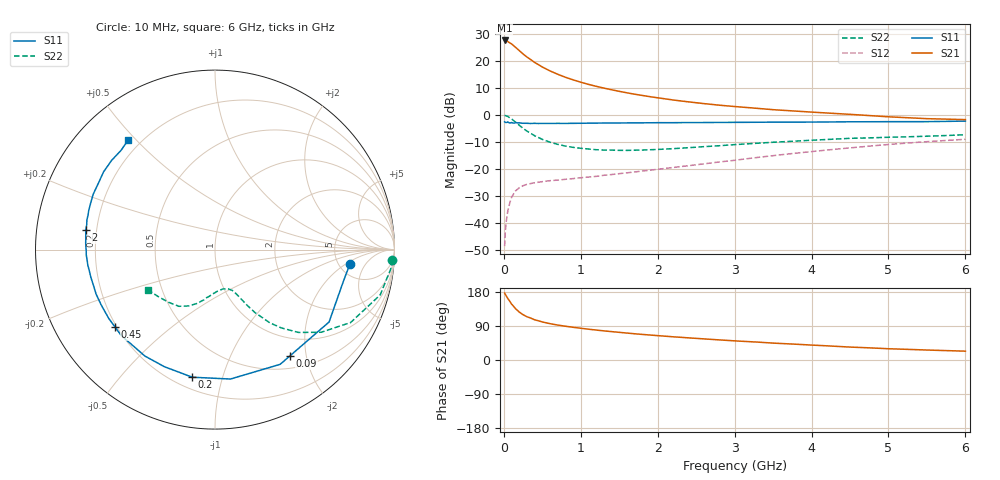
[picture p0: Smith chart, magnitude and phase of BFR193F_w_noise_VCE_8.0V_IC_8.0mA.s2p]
! Infineon Technologies  Discrete & RF Semiconductors
! BFR193F
! VCE =  8.0 V,  IC =  8.0 mA
! Common Emitter S-Parameters:  Jan 2017
# GHz  S  MA  R  50
!  f  S11  S21  S12  S22
! GHz  MAG  ANG  MAG  ANG  MAG  ANG  MAG  ANG
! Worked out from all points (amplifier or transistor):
!   77 points, 10 MHz to 6 GHz, reference 50 ohm
!   highest |S21| = 27.6 dB at 10 MHz (marker M1)
!   |S21| within 3 dB of that: start of sweep to 170.7 MHz
!   unconditionally stable (mu >= 1): 1.672 GHz to 2.886 GHz
!   at 130 MHz: K = 0.15, MSG = 27.3 dB, |S12| = -28.9 dB
!   at 2.2 GHz: K = 1.05, MAG = 11.1 dB, |S12| = -19.3 dB
!   at 6 GHz: K = 0.78, MSG = 3.6 dB, |S12| = -8.9 dB
!   lowest NFmin = 0.84 dB at 450 MHz
!   S11 on the Smith chart (normalised r, x): 10 MHz: 6.22, -2.40; 90 MHz: 0.69, -1.72; 200 MHz: 0.27, -0.80; 450 MHz: 0.19, -0.33; 2 GHz: 0.16, +0.07; 6 GHz: 0.15, +0.47
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0.01  0.7553 -6.3  24.11 176.8  0.0038 85.7  0.9894 -3.3
0.02  0.737 -13.7  23.7 172.8  0.0074 85.6  0.9851 -6.3
0.05  0.7528 -32.4  23.17 162.8  0.0165 74.3  0.9546 -15.3
0.09  0.7245 -54.8  21.21 150.9  0.0273 64.3  0.8733 -25.5
0.1  0.7351 -60.4  20.88 147.6  0.0301 62.9  0.8578 -28.3
0.15  0.7263 -83.2  18.12 135.8  0.0397 53.4  0.7496 -37.9
0.2  0.7222 -100.1  15.68 126.6  0.0457 47.8  0.6551 -44.8
0.25  0.7108 -113.4  13.56 119.5  0.0498 43.2  0.5722 -49.7
0.3  0.7101 -123.4  11.92 114.2  0.0528 40.5  0.5093 -53.2
0.4  0.7085 -137.6  9.461 106.1  0.0565 37.4  0.4176 -57.5
0.45  0.7045 -142.3  8.612 103.5  0.0578 37.1  0.3877 -58.7
0.6  0.7051 -154.1  6.6 95.9  0.0617 36.7  0.3176 -61.8
0.7  0.7073 -159.5  5.723 92.2  0.0632 38.3  0.2899 -63.3
0.9  0.7087 -167.5  4.513 86.3  0.0674 41.3  0.2548 -66.1
1.1  0.7139 -173.1  3.721 81.3  0.072 44.8  0.2376 -69.5
1.5  0.7194 178.9  2.765 73.0  0.0832 52.0  0.2244 -77.2
2  0.7283 171.4  2.1 64.3  0.1002 60.0  0.2332 -87.2
2.1  0.728 170.3  2.006 62.8  0.1041 61.2  0.2371 -88.9
3.1  0.7392 159.8  1.411 49.4  0.1532 69.8  0.2921 -103.7
4.1  0.7489 149.3  1.121 38.4  0.22 71.6  0.3505 -116.3
5.1  0.7603 138.0  0.921 29.1  0.2951 67.9  0.3945 -133.3
6  0.7796 128.4  0.831 23.3  0.3591 62.4  0.4365 -148.9
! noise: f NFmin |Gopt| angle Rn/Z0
0.45  0.84  0.25  124  0.08
0.9  0.99  0.4  147  0.07
1.9  1.74  0.61  -177  0.05
2.4  2.11  0.64  -167  0.08
